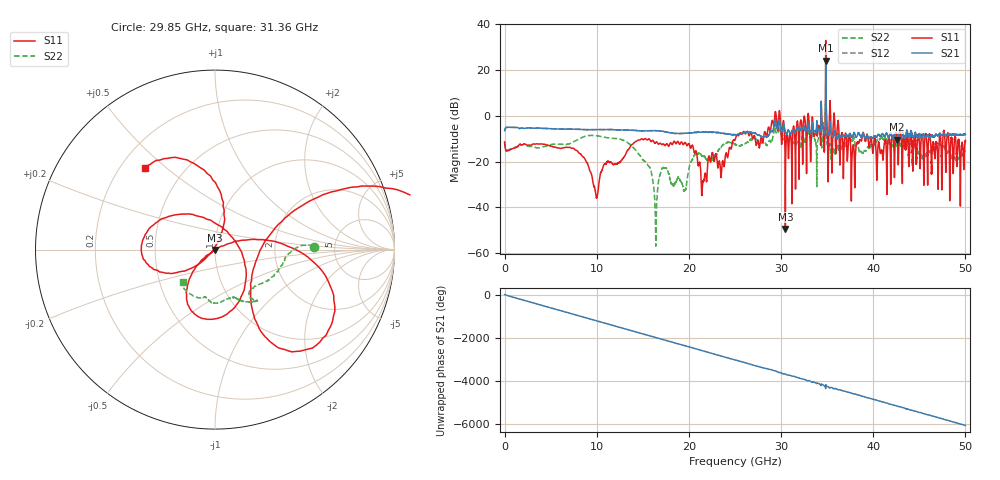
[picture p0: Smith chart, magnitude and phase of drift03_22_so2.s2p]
!Created with skrf (http://scikit-rf.org).
# Hz S RI R 50.0
!freq ReS11 ImS11 ReS21 ImS21 ReS12 ImS12 ReS22 ImS22
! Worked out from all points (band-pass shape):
!   10001 points, 300 kHz to 50 GHz, reference 50 ohm
!   highest |S21| = 24.02 dB at 34.85 GHz (marker M1); lowest = -10.4 dB at 42.55 GHz (marker M2)
!   |S21| within 3 dB of the highest: 34.84356 GHz to 34.8464 GHz (2.836 MHz wide, 0.00814 % of centre)
!   lowest |S11| = -49.4 dB at 30.47 GHz (marker M3), VSWR 1.01, Z = 49.7 - j0.206 ohm
!   |S11| at or under -10 dB: start of sweep to 15.22 GHz; 15.33 GHz to 25.05 GHz (9.727 GHz wide, 48.2 % of centre); 40.22 GHz to 41.64 GHz (1.421 GHz wide, 3.47 % of centre) (the widest 3 of 50)
!   |S22| runs from -56.9 to 15.2 dB; largest |S21 - S12| = 2.3
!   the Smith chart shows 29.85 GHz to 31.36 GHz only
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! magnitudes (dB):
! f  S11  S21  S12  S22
! 300 kHz  -11.4  -6.5  -6.4  -11.4
! 8.335 GHz  -17.1  -6.0  -6.0  -9.6
! 9.955 GHz  -35.6  -6.1  -6.1  -8.7
! 11 GHz  -20.9  -6.0  -6.1  -9.5
! 13.91 GHz  -12.4  -6.3  -6.3  -13.7
! 16.36 GHz  -11.9  -6.5  -6.5  -43.6
! 16.67 GHz  -12.4  -6.5  -6.5  -29.4
! 17.33 GHz  -12.7  -6.9  -6.9  -22.9
! 19.54 GHz  -11.7  -7.7  -7.7  -32.7
! 20.21 GHz  -13.9  -7.5  -7.5  -20.2
! 21.55 GHz  -28.6  -7.2  -7.2  -17.7
! 25 GHz  -10.6  -8.3  -8.2  -12.5
! 29.6 GHz  -5.6  -5.7  -5.9  -7.9
! 30.47 GHz  -49.4  -7.2  -7.2  -9.1
! 33.34 GHz  -3.8  -6.9  -6.8  -9.4
! 34.85 GHz  32.9  24.0  23.9  15.2
! 35.63 GHz  -6.6  -9.2  -9.1  -16.0
! 37.82 GHz  -12.8  -8.3  -8.4  -10.0
! 38.81 GHz  -9.3  -8.3  -8.3  -16.1
! 41.67 GHz  -9.5  -9.4  -9.4  -11.4
! 42.55 GHz  -8.5  -10.4  -10.4  -13.1
! 50 GHz  -11.0  -8.2  -8.2  -15.5
